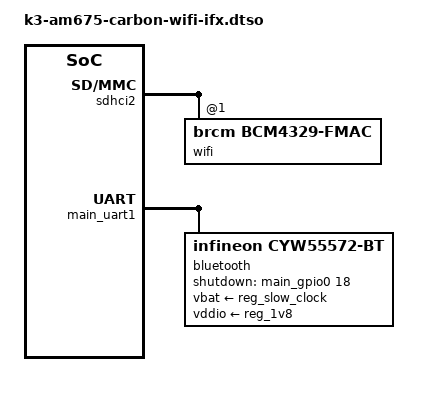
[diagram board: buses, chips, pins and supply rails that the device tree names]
// SPDX-License-Identifier: (GPL-2.0+ OR MIT)
/*
 * SDIO LWBxx & IFxxx module
 *
 * Copyright (C) 2025 Ezurio LLC
 */

/dts-v1/;
/plugin/;

#include <dt-bindings/gpio/gpio.h>

&sdhci2 { /* SDIO_B  WIFI */
	status = "okay";

	#address-cells = <1>;
	#size-cells = <0>;

	wifi@1 {
		reg = <1>;
		compatible = "brcm,bcm4329-fmac";
	};
};

&main_uart1 {
	pinctrl-0 = <&main_uart1_pins_default>, <&main_bt_en_pins_default>;

	status = "okay";

	bluetooth {
		compatible = "infineon,cyw55572-bt";
		vbat-supply = <&reg_slow_clock>;
		vddio-supply = <&reg_1v8>;
		brcm,requires-autobaud-mode;
		max-speed = <3000000>;
		shutdown-gpios = <&main_gpio0 18 GPIO_ACTIVE_HIGH>;
	};
};
